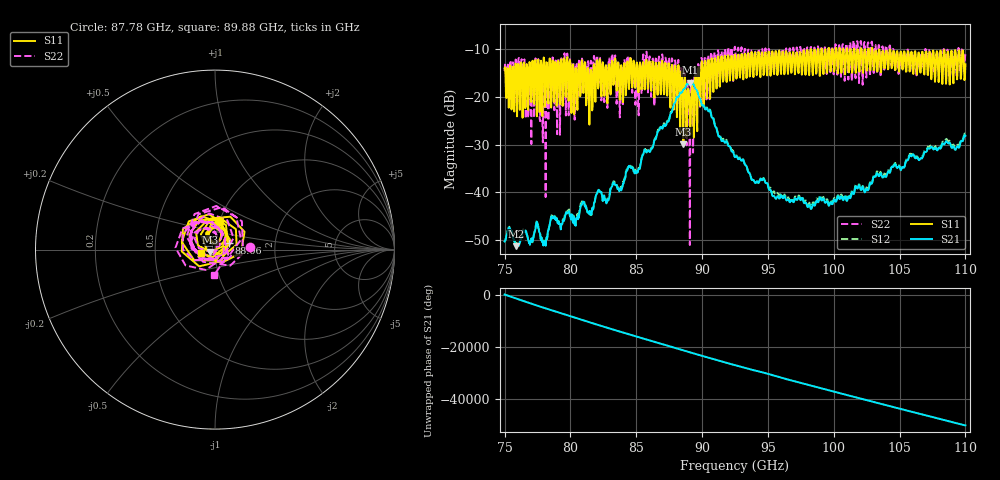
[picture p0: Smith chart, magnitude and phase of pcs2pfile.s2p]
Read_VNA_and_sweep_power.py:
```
# -*- coding: utf-8 -*-


"""
# GitHub examples repository path: VectorNetworkAnalyzers/Python/RsInstrument

Created 2021/05

Author:                     Jahns_P
Version Number:             1
Date of last change:        2021/06/01
Requires:                   R&S ZNB, FW 3.12 or newer and adequate options
                            Installed VISA e.g. R&S Visa 5.12.x or newer

Description:    Example for remote calibration with robot support to feed the calibration elements.


General Information:

Please always check this example script for unsuitable setting that may
destroy your DUT before connecting it to the instrument!
This example does not claim to be complete. All information has been compiled with care.
However, errors can not be ruled out.

Please find more information about RsInstrument at
https://rsinstrument.readthedocs.io/en/latest/
"""

import os
from RsInstrument import *
from time import sleep
import numpy as np

import skrf as rf
import matplotlib.pyplot as plt

from Lakeshore335 import LakeShore335


# Define variables
# resource = 'TCPIP0::172.16.19.125::INSTR'                                                 # VISA resource string for the device
resource = 'GPIB0::20::INSTR'

s2p_filename = r'C:\Users\Public\Documents\Rohde-Schwarz\ZNA\Traces\s2pfile.s2p'          # Name and path of the s2p file on the instrument
pc_filename = r'D:\OneDrive\document\GitHub\VNAMeas\pcs2pfile.s2p'                                                # Name and path of the s2p file on the PC


# Make sure you have the last version of the RsInstrument
RsInstrument.assert_minimum_version('1.53.0')

# Define the device handle
# Instrument = RsInstrument(resource)
# Instrument = RsInstrument(resource, True, False, "SelectVisa='rs'")
Instrument = RsInstrument(resource, True, False, "SelectVisa='ni'")
"""
(resource, True, True, "SelectVisa='rs'") has the following meaning:
(VISA-resource, id_query, reset, options)
- id_query: if True: the instrument's model name is verified against the models 
supported by the driver and eventually throws an exception.   
- reset: Resets the instrument (sends *RST) command and clears its status syb-system
- option SelectVisa:
            - 'SelectVisa = 'socket' - uses no VISA implementation for socket connections - you do not need any VISA-C installation
            - 'SelectVisa = 'rs' - forces usage of Rohde&Schwarz Visa
            - 'SelectVisa = 'ni' - forces usage of National Instruments Visa     
"""
sleep(1)                                                                              # Eventually add some waiting time when reset is performed during initialization


def comprep():
    """Preparation of the communication (termination, etc...)"""
    print(f'VISA Manufacturer: {Instrument.visa_manufacturer}')     # Confirm VISA package to be chosen
    Instrument.visa_timeout = 5000                                  # Timeout for VISA Read Operations
    Instrument.opc_timeout = 5000                                   # Timeout for opc-synchronised operations
    Instrument.instrument_status_checking = True                    # Error check after each command, can be True or False
    Instrument.clear_status()                                       # Clear status register


def close():
    """Close the VISA session"""
    Instrument.close()


def comcheck():
    """Check communication with the device"""

    # Just knock on the door to see if instrument is present
    idnResponse = Instrument.query_str('*IDN?')
    sleep(1)
    print('Hello, I am ' + idnResponse)


def measure():
    """Perform a single sweep measurement"""
    Instrument.write_str_with_opc('INIT1:CONTinuous OFF')
    Instrument.write_str_with_opc('INIT1:IMMediate')
    # Instrument.write_str_with_opc('INIT:IMM')


def saves2p(s2p_filename):
    """Save the measurement to a s2p file"""
    # Instrument.write_str_with_opc(f'MMEMory:STORe:TRACe:PORTs   1, "{s2p_filename}", COMPlex, 1, 2')
    Instrument.write_str_with_opc(f'MMEM:STOR:TRAC:PORT   1, "{s2p_filename}", COMPlex, 1, 2')
    #Instrument.write_str_with_opc(f'MMEM:STOR:TRAC:CHAN 1, "{s2p_filename}"')
    
    # An S2P file does only contain real and imaginary part of each scatter parameter of the measurement.
    # To extract e.g. the magnitude and phase data of each trace, better use the command
    # MMEMory:STORe:TRACe:CHANnel 1, 'tracefile.csv', FORM, LINPhase
    # Using this simple file format it will be stored in path
    # C:\Users\Public\Documents\Rohde-Schwarz\Vna


def fileget(s2p_filename, pc_filename):
    """Perform calibration with short element"""
    Instrument.read_file_from_instrument_to_pc(s2p_filename, pc_filename)


# ---------------------------
# Main Program begins here
# just calling the functions
# ---------------------------

comprep()
comcheck()
# meassetup()
# measure()
# saves2p()
# fileget()

temp_reader = LakeShore335(gpib_address=12)

current_temp = temp_reader.get_temperature()

count_max = 1

date = "20251015-YBCO#397（-20）-Meas"

# Inputpowers = np.arange(-30, -10, 2)
Inputpowers = np.arange(-9,0 , 2)
# Inputpowers = [-45,-40]

instr_name = Instrument.query("*IDN?\n")

if "ZVA24-4Port" in instr_name:
    
    s2p_filename = r'C:\2025\s2pfilename1.s2p'
    #s2p_filenae = 'test.s2p'
    
else:
    
    s2p_filename = r'C:\Users\Public\Documents\Rohde-Schwarz\ZNA\Traces\s2pfilename.s2p'



count = 0

plt.figure()

# while count<count_max:
for power in Inputpowers:
    
    Instrument.write("SOUR1:POW:LEV:IMM:AMPL %d"%(power))

    sleep(1)                                                                       # Eventually add some waiting time when reset is performed during initialization

    
    # s2p_filename = r'C:\Users\Public\Documents\Rohde-Schwarz\ZNA\Traces\s2pfilename.s2p'
    
    # s2p_filename = r'C:\2025\s2pfilename.s2p'
    
    folder = r'D:\YBCO\VNAMeas\data\%s'%(date)
    
    if os.path.isdir(folder) is False:
        
        os.makedirs(folder)
    
    
    pc_filename = folder + '\\YBCO_resonator_%ddBm_%.3fK_%d.s2p'  %(power, current_temp,count)                                              # Name and path of the s2p file on the PC

    
    
    count = count + 1;
    
    measure()
    
    saves2p(s2p_filename)
    fileget(s2p_filename,pc_filename)
    
    net = rf.Network(pc_filename)
    # 
    s21 = net.s[:,1,0]
    
    freq = net.f;
    
    plt.plot(freq,20*np.log10(np.abs(s21)))
    
    sleep(5)
    
    current_temp = temp_reader.get_temperature()
    
    print(count)
    

temp_reader.set_heater_range(1,0)

temp_reader.close()
# net = rf.Network(pc_filename)

# net.plot_s_db()
close()

# print('I am done')
```
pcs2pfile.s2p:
#  HZ  S  RI  R  50.00
! Rohde & Schwarz Vector Network Analyzer
! Rohde-Schwarz,ZNA50-4Port,1332450054101417,2.92
! Created: UTC 11/7/2024, 7:53:19 AM
! freq[Hz]  re:S11  im:S11  re:S21  im:S21  re:S12  im:S12  re:S22  im:S22
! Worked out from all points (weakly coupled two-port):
!   1001 points, 75 GHz to 110 GHz, reference 50 ohm
!   highest |S21| = -17.07 dB at 89.11 GHz (marker M1); lowest = -51.2 dB at 75.88 GHz (marker M2)
!   lowest |S11| = -29.9 dB at 88.58 GHz (marker M3), VSWR 1.07, Z = 47.2 - j1.24 ohm
!   |S11| at or under -10 dB: start of sweep to 98.8 GHz; 101.5 GHz to 102.1 GHz (520.7 MHz wide, 0.511 % of centre); 102.9 GHz to end of sweep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
!   |S22| runs from -51.0 to -8.2 dB; largest |S21 - S12| = 0.23
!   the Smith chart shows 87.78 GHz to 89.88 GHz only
!   S11 on the Smith chart (normalised r, x): 87.78 GHz: 0.99, +0.33; 88.06 GHz: 1.16, +0.09; 89.88 GHz: 0.86, -0.03
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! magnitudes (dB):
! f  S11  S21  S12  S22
! 75 GHz  -14.1  -50.3  -50.3  -14.6
! 75.88 GHz  -14.3  -51.2  -50.9  -12.6
! 83.78 GHz  -17.4  -39.5  -39.2  -18.6
! 87.78 GHz  -15.8  -22.5  -22.3  -14.2
! 88.06 GHz  -21.4  -20.2  -20.0  -21.3
! 88.58 GHz  -29.9  -18.4  -18.3  -23.0
! 89.11 GHz  -28.0  -17.1  -16.9  -24.6
! 89.88 GHz  -22.0  -20.6  -20.3  -16.9
! 92.5 GHz  -11.2  -32.6  -32.3  -9.5
! 98.17 GHz  -13.4  -42.7  -42.2  -12.4
! 110 GHz  -13.2  -28.1  -27.8  -10.7
